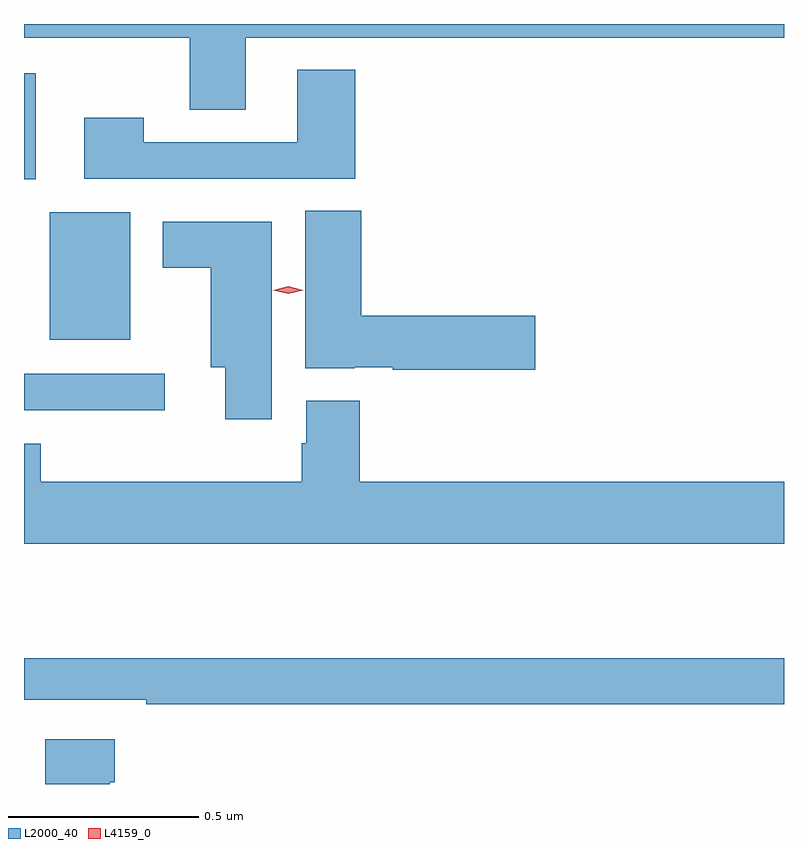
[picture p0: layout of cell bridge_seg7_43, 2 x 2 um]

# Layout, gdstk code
import gdstk
lib = gdstk.Library(unit=1e-6, precision=1e-09)
def R(c, l, rs):  # rectangles x0, y0, x1, y1
    for r in rs: c.add(gdstk.rectangle(r[:2], r[2:], *l))
def P(c, l, *ps):  # polygons
    for p in ps: c.add(gdstk.Polygon(p, *l))
L2000_40 = (2000, 40)
L4159_0 = (4159, 0)

bridge_seg7_43 = lib.new_cell('bridge_seg7_43')
R(bridge_seg7_43, L2000_40, [(976.908,1076.891,977.278,1076.988), (976.976,1077.077,977.188,1077.412), (976.908,1077.5,976.939,1077.778)])
P(bridge_seg7_43, L2000_40, [(977.491,1077.872),(978.908,1077.872),(978.908,1077.908),(976.908,1077.908),(976.908,1077.872),(977.344,1077.872),(977.344,1077.682),(977.491,1077.682)],
  [(977.78,1077.787),(977.627,1077.787),(977.627,1077.597),(977.223,1077.597),(977.223,1077.661),(977.067,1077.661),(977.067,1077.501),(977.78,1077.501)],
  [(978.253,1077.14),(977.795,1077.14),(977.795,1077.416),(977.648,1077.416),(977.648,1077.002),(977.778,1077.002),(977.778,1077.005),(977.878,1077.005),(977.878,1076.998),(978.253,1076.998)],
  [(977.56,1077.388),(977.273,1077.388),(977.273,1077.266),(977.399,1077.266),(977.399,1077.005),(977.438,1077.005),(977.438,1076.868),(977.56,1076.868)],
  [(978.908,1076.704),(977.792,1076.704),(977.792,1076.917),(977.651,1076.917),(977.651,1076.805),(977.639,1076.805),(977.639,1076.704),(976.952,1076.704),(976.952,1076.803),(976.908,1076.803),(976.908,1076.54),(978.908,1076.54)],
  [(978.908,1076.239),(976.908,1076.239),(976.908,1076.13),(977.23,1076.13),(977.23,1076.118),(978.908,1076.118)],
  [(977.134,1075.913),(977.147,1075.913),(977.147,1076.026),(976.964,1076.026),(976.964,1075.908),(977.134,1075.908)])
P(bridge_seg7_43, L4159_0, [(977.604,1077.198),(977.564,1077.207),(977.564,1077.207),(977.564,1077.208),(977.604,1077.218),(977.643,1077.208),(977.643,1077.208),(977.643,1077.207)])

lib.write_gds('bridge_seg7_43.gds')
